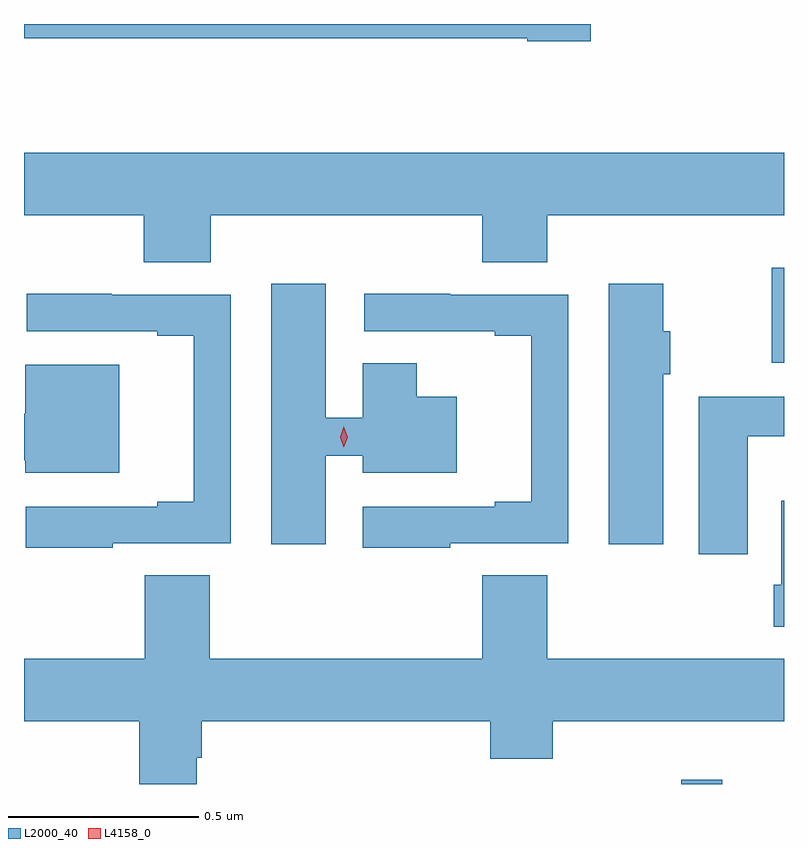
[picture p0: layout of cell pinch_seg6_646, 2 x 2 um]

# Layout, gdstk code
import gdstk
lib = gdstk.Library(unit=1e-6, precision=1e-09)
def R(c, l, rs):  # rectangles x0, y0, x1, y1
    for r in rs: c.add(gdstk.rectangle(r[:2], r[2:], *l))
def P(c, l, *ps):  # polygons
    for p in ps: c.add(gdstk.Polygon(p, *l))
L2000_40 = (2000, 40)
L4158_0 = (4158, 0)

pinch_seg6_646 = lib.new_cell('pinch_seg6_646')
R(pinch_seg6_646, L2000_40, [(479.883,977.807,479.992,977.818), (480.122,978.915,480.154,979.165)])
P(pinch_seg6_646, L2000_40, [(479.645,979.807),(478.154,979.807),(478.154,979.77),(479.478,979.77),(479.478,979.762),(479.645,979.762)],
  [(478.646,979.304),(479.36,979.304),(479.36,979.18),(479.531,979.18),(479.531,979.304),(480.154,979.304),(480.154,979.468),(478.154,979.468),(478.154,979.304),(478.469,979.304),(478.469,979.18),(478.646,979.18)],
  [(479.836,978.885),(479.854,978.885),(479.854,978.999),(479.836,978.999),(479.836,979.123),(479.693,979.123),(479.693,978.438),(479.836,978.438)],
  [(478.948,978.671),(479.045,978.671),(479.045,978.626),(479.293,978.626),(479.293,978.826),(479.187,978.826),(479.187,978.914),(479.045,978.914),(479.045,978.771),(478.948,978.771),(478.948,979.123),(478.805,979.123),(478.805,978.438),(478.948,978.438)],
  [(478.388,978.441),(478.698,978.441),(478.698,979.095),(478.385,979.095),(478.385,979.097),(478.161,979.097),(478.161,978.999),(478.505,978.999),(478.505,978.987),(478.601,978.987),(478.601,978.55),(478.505,978.55),(478.505,978.537),(478.158,978.537),(478.158,978.429),(478.388,978.429)],
  [(479.276,978.441),(479.586,978.441),(479.586,979.095),(479.276,979.095),(479.276,979.097),(479.049,979.097),(479.049,978.999),(479.393,978.999),(479.393,978.987),(479.489,978.987),(479.489,978.55),(479.393,978.55),(479.393,978.537),(479.046,978.537),(479.046,978.429),(479.276,978.429)],
  [(478.405,978.91),(478.157,978.91),(478.157,978.781),(478.154,978.781),(478.154,978.659),(478.157,978.659),(478.157,978.626),(478.405,978.626)],
  [(480.058,978.722),(480.154,978.722),(480.154,978.826),(479.93,978.826),(479.93,978.411),(480.058,978.411)],
  [(480.154,978.553),(480.147,978.553),(480.147,978.331),(480.127,978.331),(480.127,978.221),(480.154,978.221)],
  [(478.609,977.876),(478.622,977.876),(478.622,977.972),(479.381,977.972),(479.381,977.873),(479.546,977.873),(479.546,977.972),(480.154,977.972),(480.154,978.136),(479.531,978.136),(479.531,978.356),(479.36,978.356),(479.36,978.136),(478.643,978.136),(478.643,978.356),(478.472,978.356),(478.472,978.136),(478.154,978.136),(478.154,977.972),(478.457,977.972),(478.457,977.807),(478.609,977.807)])
P(pinch_seg6_646, L4158_0, [(478.996,978.693),(478.996,978.693),(478.986,978.72),(478.996,978.747),(478.996,978.748),(478.996,978.747),(479.006,978.72),(478.996,978.693)])

lib.write_gds('pinch_seg6_646.gds')
